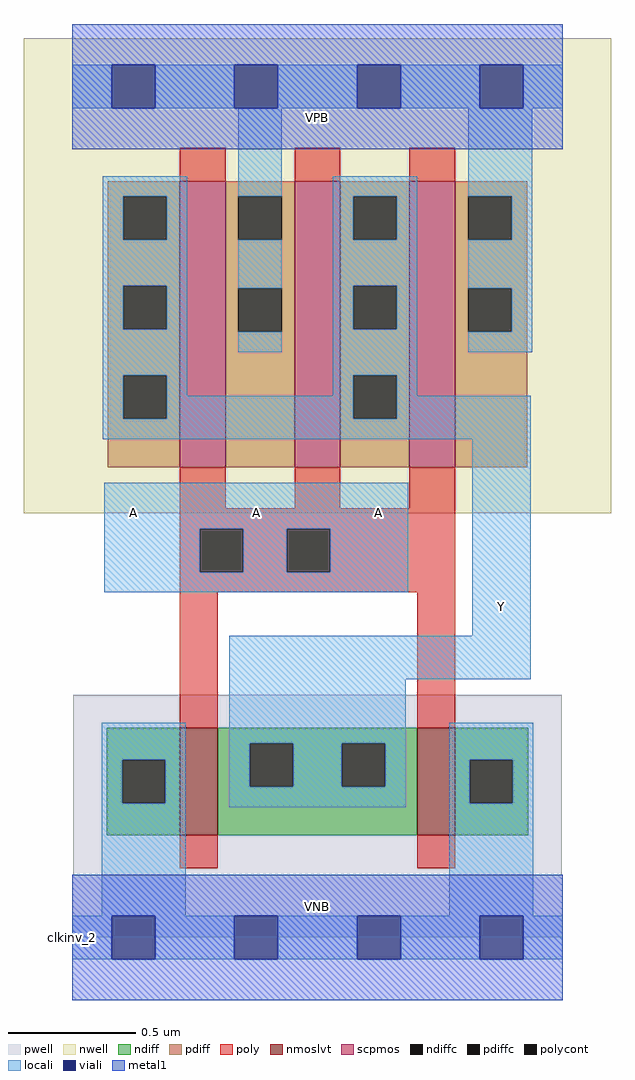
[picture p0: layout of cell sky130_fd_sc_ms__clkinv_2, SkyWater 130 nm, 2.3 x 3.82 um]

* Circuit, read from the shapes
.subckt sky130_fd_sc_ms__clkinv_2 A VGND VNB VPB VPWR Y
XM1 Y A VGND VNB sky130_fd_pr__nfet_01v8_lvt w=0.42 l=0.15 m=2
XM2 VPWR A Y VPB sky130_fd_pr__pfet_01v8 w=1.12 l=0.18 m=3
.ends

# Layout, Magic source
magic
tech sky130A
magscale 1 2
<< nwell >>
rect -38 332 422 704
<< pwell >>
rect 1 49 383 190
rect 0 0 384 49
<< scpmos >>
rect 84 368 120 592
rect 174 368 210 592
rect 264 368 300 592
<< nmoslvt >>
rect 84 80 114 164
rect 270 80 300 164
<< ndiff >>
rect 27 139 84 164
rect 27 105 39 139
rect 73 105 84 139
rect 27 80 84 105
rect 114 152 270 164
rect 114 118 139 152
rect 173 118 211 152
rect 245 118 270 152
rect 114 80 270 118
rect 300 139 357 164
rect 300 105 311 139
rect 345 105 357 139
rect 300 80 357 105
<< pdiff >>
rect 28 580 84 592
rect 28 546 40 580
rect 74 546 84 580
rect 28 510 84 546
rect 28 476 40 510
rect 74 476 84 510
rect 28 440 84 476
rect 28 406 40 440
rect 74 406 84 440
rect 28 368 84 406
rect 120 580 174 592
rect 120 546 130 580
rect 164 546 174 580
rect 120 508 174 546
rect 120 474 130 508
rect 164 474 174 508
rect 120 368 174 474
rect 210 580 264 592
rect 210 546 220 580
rect 254 546 264 580
rect 210 510 264 546
rect 210 476 220 510
rect 254 476 264 510
rect 210 440 264 476
rect 210 406 220 440
rect 254 406 264 440
rect 210 368 264 406
rect 300 580 356 592
rect 300 546 310 580
rect 344 546 356 580
rect 300 508 356 546
rect 300 474 310 508
rect 344 474 356 508
rect 300 368 356 474
<< ndiffc >>
rect 39 105 73 139
rect 139 118 173 152
rect 211 118 245 152
rect 311 105 345 139
<< pdiffc >>
rect 40 546 74 580
rect 40 476 74 510
rect 40 406 74 440
rect 130 546 164 580
rect 130 474 164 508
rect 220 546 254 580
rect 220 476 254 510
rect 220 406 254 440
rect 310 546 344 580
rect 310 474 344 508
<< poly >>
rect 84 592 120 618
rect 174 592 210 618
rect 264 592 300 618
rect 84 336 120 368
rect 174 336 210 368
rect 264 336 300 368
rect 84 320 300 336
rect 84 286 100 320
rect 134 286 168 320
rect 202 286 300 320
rect 84 270 300 286
rect 84 164 114 270
rect 270 164 300 270
rect 84 54 114 80
rect 270 54 300 80
<< polycont >>
rect 100 286 134 320
rect 168 286 202 320
<< locali >>
rect 0 649 31 683
rect 65 649 127 683
rect 161 649 223 683
rect 257 649 319 683
rect 353 649 384 683
rect 24 580 90 596
rect 24 546 40 580
rect 74 546 90 580
rect 24 510 90 546
rect 24 476 40 510
rect 74 476 90 510
rect 24 440 90 476
rect 130 580 164 649
rect 130 508 164 546
rect 130 458 164 474
rect 204 580 270 596
rect 204 546 220 580
rect 254 546 270 580
rect 204 510 270 546
rect 204 476 220 510
rect 254 476 270 510
rect 24 406 40 440
rect 74 424 90 440
rect 204 440 270 476
rect 310 580 360 649
rect 344 546 360 580
rect 310 508 360 546
rect 344 474 360 508
rect 310 458 360 474
rect 204 424 220 440
rect 74 406 220 424
rect 254 424 270 440
rect 254 406 359 424
rect 24 390 359 406
rect 25 320 263 356
rect 25 286 100 320
rect 134 286 168 320
rect 202 286 263 320
rect 25 270 263 286
rect 313 236 359 390
rect 123 202 359 236
rect 23 139 89 168
rect 23 105 39 139
rect 73 105 89 139
rect 23 17 89 105
rect 123 152 261 202
rect 123 118 139 152
rect 173 118 211 152
rect 245 118 261 152
rect 123 102 261 118
rect 295 139 361 168
rect 295 105 311 139
rect 345 105 361 139
rect 295 17 361 105
rect 0 -17 31 17
rect 65 -17 127 17
rect 161 -17 223 17
rect 257 -17 319 17
rect 353 -17 384 17
<< viali >>
rect 31 649 65 683
rect 127 649 161 683
rect 223 649 257 683
rect 319 649 353 683
rect 31 -17 65 17
rect 127 -17 161 17
rect 223 -17 257 17
rect 319 -17 353 17
<< metal1 >>
rect 0 683 384 715
rect 0 649 31 683
rect 65 649 127 683
rect 161 649 223 683
rect 257 649 319 683
rect 353 649 384 683
rect 0 617 384 649
rect 0 17 384 49
rect 0 -17 31 17
rect 65 -17 127 17
rect 161 -17 223 17
rect 257 -17 319 17
rect 353 -17 384 17
rect 0 -49 384 -17
<< labels >>
flabel pwell s 0 0 384 49 0 FreeSans 200 0 0 0 VNB
port 3 nsew ground bidirectional
flabel nwell s 0 617 384 666 0 FreeSans 200 0 0 0 VPB
port 4 nsew power bidirectional
rlabel comment s 0 0 0 0 4 clkinv_2
flabel metal1 s 0 617 384 666 0 FreeSans 340 0 0 0 VPWR
port 5 nsew power bidirectional
flabel metal1 s 0 0 384 49 0 FreeSans 340 0 0 0 VGND
port 2 nsew ground bidirectional
flabel locali s 319 242 353 276 0 FreeSans 340 0 0 0 Y
port 6 nsew signal output
flabel locali s 31 316 65 350 0 FreeSans 340 0 0 0 A
port 1 nsew signal input
flabel locali s 127 316 161 350 0 FreeSans 340 0 0 0 A
port 1 nsew signal input
flabel locali s 223 316 257 350 0 FreeSans 340 0 0 0 A
port 1 nsew signal input
<< properties >>
string LEFsite unit
string LEFclass CORE
string FIXED_BBOX 0 0 384 666
string GDS_FILE $PDKPATH/libs.ref/sky130_fd_sc_ms/gds/sky130_fd_sc_ms.gds
string LEFsymmetry X Y
string GDS_END 2658008
string GDS_START 2654002
<< end >>
